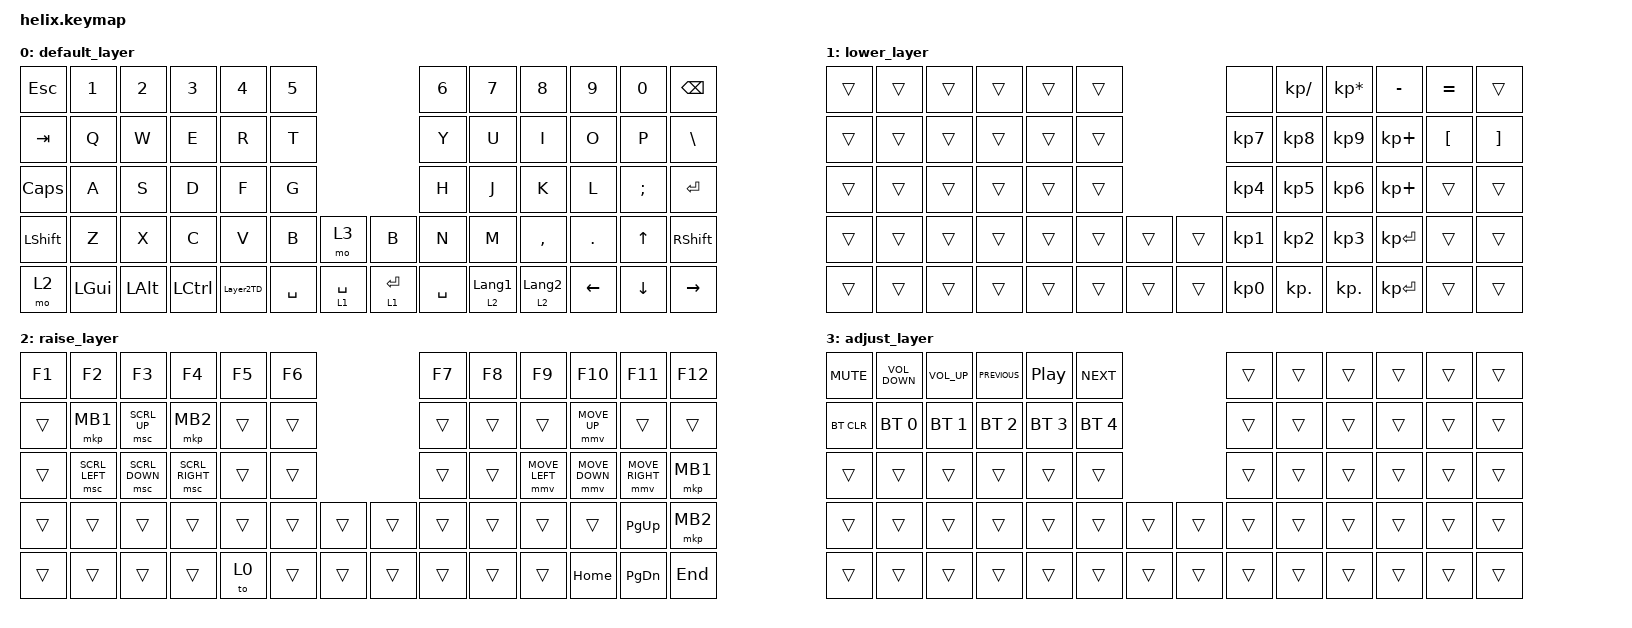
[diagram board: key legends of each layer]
/*
 * Copyright (c) 2020 The ZMK Contributors
 *
 * SPDX-License-Identifier: MIT
 */

#define ZMK_POINTING_DEFAULT_MOVE_VAL 2200
#define ZMK_POINTING_DEFAULT_SCRL_VAL 20

#include <behaviors.dtsi>
#include <dt-bindings/zmk/bt.h>
#include <dt-bindings/zmk/keys.h>
#include <dt-bindings/zmk/pointing.h>

#define DEFAULT 0
#define LOWER  1
#define RAISE  2
#define ADJUST 3

/* NOTE: At the time of the creation of this keymap, there are no specified codes for 'eisuu' and 'kana' input in ZMK.
However, 'LANG1' and 'LANG2' are fully-functioning candidates for 'kana' and 'eisuu' input respectively.
As such, those are in use within the default layer at this time.*/

/ {
    combos {
        compatible = "zmk,combos";

        slas {
            bindings = <&kp SLASH>;
            key-positions = <48 47>;
            layers = <0>;
        };

        Delt {
            bindings = <&kp DELETE>;
            key-positions = <11 10>;
        };

        LEFT_Y {
            bindings = <&kp Y>;
            key-positions = <16 17>;
        };

        Ent {
            bindings = <&kp APOSTROPHE>;
            key-positions = <34 33>;
        };

        GraveTilde {
            bindings = <&kp GRAVE>;
            key-positions = <0 1>;
        };

        InsertCombo {
            bindings = <&kp INSERT>;
            key-positions = <22 23>;
        };

        Tcombo {
            bindings = <&kp T>;
            key-positions = <18 19>;
        };

        SixCombo {
            bindings = <&kp NUMBER_6>;
            key-positions = <4 5>;
        };

        FiveCombo {
            bindings = <&kp N5>;
            key-positions = <6 7>;
        };
    };

    behaviors {
        Layer2TD: Layer2TD {
            compatible = "zmk,behavior-tap-dance";
            label = "LAYER2TD";
            #binding-cells = <0>;
            bindings = <&mo 2>, <&to 2>;
        };
    };

    keymap {
        compatible = "zmk,keymap";

        default_layer {
            // ---------------------------------------------------------------------------------------------------------------------------------
            // | GRAVE  |   1    |   2    |   3    |   4    |   5    |                                      |   6    |   7    |   8    |   9    |   0    |  DEL   |
            // |  TAB   |   Q    |   W    |   E    |   R    |   T    |                                      |   Y    |   U    |   I    |   O    |   P    |  BSPC  |
            // |  CTRL  |   A    |   S    |   D    |   F    |   G    |                                      |   H    |   J    |   K    |   L    |   ;    |   '    |
            // |  SHIFT |   Z    |   X    |   C    |   V    |   B    |  LBKT  |                    |  RBKT  |   N    |   M    |   ,    |   .    |   /    |  RET   |
            // | ADJUST |  ESC   |  ALT   |  LGUI  | EISUU  | LOWER  | SPACE  |                    |  SPACE | RAISE  |  KANA  |  LEFT  |  DOWN  |  UP    |  RIGHT |

            bindings = <
&kp ESC    &kp N1        &kp N2    &kp N3            &kp N4     &kp N5                                 &kp N6     &kp N7            &kp N8            &kp N9          &kp N0          &kp BACKSPACE
&kp TAB    &kp Q         &kp W     &kp E             &kp R      &kp T                                  &kp Y      &kp U             &kp I             &kp O           &kp P           &kp BACKSLASH
&kp CAPS   &kp A         &kp S     &kp D             &kp F      &kp G                                  &kp H      &kp J             &kp K             &kp L           &kp SEMI        &kp ENTER
&kp LSHFT  &kp Z         &kp X     &kp C             &kp V      &kp B      &mo 3          &kp B        &kp N      &kp M             &kp COMMA         &kp PERIOD      &kp UP_ARROW    &kp RIGHT_SHIFT
&mo 2      &kp LEFT_GUI  &kp LALT  &kp LEFT_CONTROL  &Layer2TD  &kp SPACE  &lt 1 SPACE    &lt 1 ENTER  &kp SPACE  &lt 2 LANGUAGE_1  &lt 2 LANGUAGE_2  &kp LEFT_ARROW  &kp DOWN_ARROW  &kp RIGHT
            >;
        };

        lower_layer {
            // ---------------------------------------------------------------------------------------------------------------------------------
            // |      |      |      |      |      |      |                                  |      |      |      |      |      |      |
            // |  ~   |  !   |  @   |  #   |  $   |  %   |                                  |  ^   |  &   |  *   |  (   |  )   |      |
            // |      |      |      |      |      |      |                                  |      |  _   |  +   |  {   |  }   | PIPE |
            // |      |      |      |      |      |      |  (   |                    |  )   |      |      |      | HOME | END  |      |
            // |      |      |      |      |      |      |      |                    |      |      |      |      |      |      |      |

            bindings = <
&trans  &trans  &trans  &trans  &trans  &trans                    &none            &kp KP_DIVIDE    &kp KP_MULTIPLY  &kp MINUS     &kp EQUAL         &trans
&trans  &trans  &trans  &trans  &trans  &trans                    &kp KP_NUMBER_7  &kp KP_NUMBER_8  &kp KP_NUMBER_9  &kp KP_PLUS   &kp LEFT_BRACKET  &kp RIGHT_BRACKET
&trans  &trans  &trans  &trans  &trans  &trans                    &kp KP_NUMBER_4  &kp KP_NUMBER_5  &kp KP_NUMBER_6  &kp KP_PLUS   &trans            &trans
&trans  &trans  &trans  &trans  &trans  &trans  &trans    &trans  &kp KP_NUMBER_1  &kp KP_NUMBER_2  &kp KP_NUMBER_3  &kp KP_ENTER  &trans            &trans
&trans  &trans  &trans  &trans  &trans  &trans  &trans    &trans  &kp KP_NUMBER_0  &kp KP_DOT       &kp KP_DOT       &kp KP_ENTER  &trans            &trans
            >;
        };

        raise_layer {
            // ---------------------------------------------------------------------------------------------------------------------------------
            // |       |       |       |       |       |       |                                    |       |       |       |       |       |       |
            // |   `   |   1   |   2   |   3   |   4   |   5   |                                    |   6   |   7   |   8   |   9   |   0   |  DEL  |
            // |       |  F1   |  F2   |  F3   |  F4   |  F5   |                                    |  F6   |   -   |   =   |   [   |   ]   |   \   |
            // |       |  F7   |  F8   |  F9   |  F10  |  F11  |       |                    |       |  F12  |       | PSCRN | PG_DN | PG_UP |       |
            // |       |       |       |       |       |       |       |                    |       |       |       | NEXT  | VOL-  | VOL+  | PLAY  |

            bindings = <
&kp F1  &kp F2          &kp F3          &kp F4           &kp F5  &kp F6                    &kp F7  &kp F8  &kp F9          &kp F10         &kp F11          &kp F12
&trans  &mkp MB1        &msc SCRL_UP    &mkp MB2         &trans  &trans                    &trans  &trans  &trans          &mmv MOVE_UP    &trans           &trans
&trans  &msc SCRL_LEFT  &msc SCRL_DOWN  &msc SCRL_RIGHT  &trans  &trans                    &trans  &trans  &mmv MOVE_LEFT  &mmv MOVE_DOWN  &mmv MOVE_RIGHT  &mkp MB1
&trans  &trans          &trans          &trans           &trans  &trans  &trans    &trans  &trans  &trans  &trans          &trans          &kp PAGE_UP      &mkp MB2
&trans  &trans          &trans          &trans           &to 0   &trans  &trans    &trans  &trans  &trans  &trans          &kp HOME        &kp PAGE_DOWN    &kp END
            >;
        };

        adjust_layer {
            // ---------------------------------------------------------------------------------------------------------------------------------
            // |    `     |    !     |    @     |    #     |    $     |    %     |                                          |    ^     |    &     |    *     |    (     |    )     |  EP TOG  |
            // |  BT CLR  | BT SEL0  | BT SEL1  | BT SEL2  | BGT SEL3 | BT SEL4  |                                          | RGB EFF+ | RGB HUE+ | RGB SAT+ | RGB SPD+ | RGB BRI+ | RGB TOG  |
            // |  BT NXT  | OUT TOG  | OUT USB  | OUT BLE  |          |          |                                          | RGB EFF- | RGB HUE- | RGB SAT- | RGB SPD- | RGB BRI- |          |
            // |  BT PRV  |          |          |          |          |          |    {     |                    |    }     |          |          |          |          |          |          |
            // |          |          |          |          |          |          |          |                    |          |          |          |          |          |          |          |

            bindings = <
&kp C_MUTE  &kp C_VOLUME_DOWN  &kp C_VOLUME_UP  &kp C_PREVIOUS  &kp C_PLAY_PAUSE  &kp C_NEXT                      &trans  &trans  &trans  &trans  &trans  &trans
&bt BT_CLR  &bt BT_SEL 0       &bt BT_SEL 1     &bt BT_SEL 2    &bt BT_SEL 3      &bt BT_SEL 4                    &trans  &trans  &trans  &trans  &trans  &trans
&trans      &trans             &trans           &trans          &trans            &trans                          &trans  &trans  &trans  &trans  &trans  &trans
&trans      &trans             &trans           &trans          &trans            &trans        &trans    &trans  &trans  &trans  &trans  &trans  &trans  &trans
&trans      &trans             &trans           &trans          &trans            &trans        &trans    &trans  &trans  &trans  &trans  &trans  &trans  &trans
            >;
        };
    };
};
